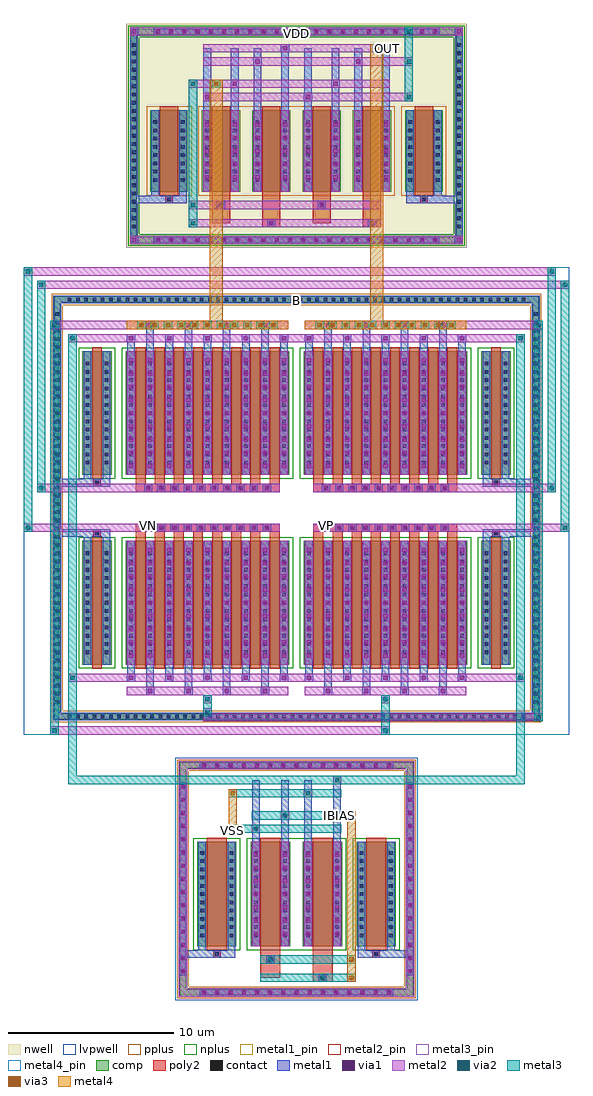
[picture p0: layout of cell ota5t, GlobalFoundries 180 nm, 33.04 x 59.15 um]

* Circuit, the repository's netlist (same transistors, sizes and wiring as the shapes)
* NGSPICE file created from ota5t.ext - technology: gf180mcuD

.subckt ota5t B VSS IBIAS VN VP VDD OUT
X0 OUT VN a_n2070_n374# B nfet_03v3 ad=2.0972p pd=8.05u as=2.0972p ps=8.05u w=7.49u l=0.6u
X1 a_n2070_n374# VN OUT B nfet_03v3 ad=2.0972p pd=8.05u as=2.0972p ps=8.05u w=7.49u l=0.6u
X2 a_n1830_1924# VP a_n2070_n374# B nfet_03v3 ad=2.0972p pd=8.05u as=2.0972p ps=8.05u w=7.49u l=0.6u
X3 a_n1830_1924# a_n1830_1924# VDD VDD pfet_03v3 ad=2.97p pd=11.1u as=2.97p ps=11.1u w=4.95u l=1.11u
X4 OUT a_n1830_1924# VDD VDD pfet_03v3 ad=2.97p pd=11.1u as=2.97p ps=11.1u w=4.95u l=1.11u
X5 a_n2070_n374# VP a_n1830_1924# B nfet_03v3 ad=2.0972p pd=8.05u as=2.0972p ps=8.05u w=7.49u l=0.6u
X6 OUT VN a_n2070_n374# B nfet_03v3 ad=2.0972p pd=8.05u as=2.0972p ps=8.05u w=7.49u l=0.6u
X7 a_n1830_1924# VP a_n2070_n374# B nfet_03v3 ad=2.0972p pd=8.05u as=2.0972p ps=8.05u w=7.49u l=0.6u
X8 B B B B nfet_03v3 ad=4.3442p pd=16.14u as=49.416p ps=0.18432m w=7.49u l=0.6u
X9 OUT VN a_n2070_n374# B nfet_03v3 ad=2.0972p pd=8.05u as=2.0972p ps=8.05u w=7.49u l=0.6u
X10 a_n2070_n374# VN OUT B nfet_03v3 ad=2.0972p pd=8.05u as=2.0972p ps=8.05u w=7.49u l=0.6u
X11 a_n2070_n374# VP a_n1830_1924# B nfet_03v3 ad=2.0972p pd=8.05u as=2.0972p ps=8.05u w=7.49u l=0.6u
X12 IBIAS IBIAS VSS B nfet_03v3 ad=3.792p pd=13.84u as=3.792p ps=13.84u w=6.32u l=1.21u
X13 a_n1830_1924# VP a_n2070_n374# B nfet_03v3 ad=2.0972p pd=8.05u as=2.0972p ps=8.05u w=7.49u l=0.6u
X14 a_n2070_n374# VN OUT B nfet_03v3 ad=4.494p pd=16.18u as=2.0972p ps=8.05u w=7.49u l=0.6u
X15 B B B B nfet_03v3 ad=4.3442p pd=16.14u as=0 ps=0 w=7.49u l=0.6u
X16 a_n1830_1924# VP a_n2070_n374# B nfet_03v3 ad=2.0972p pd=8.05u as=2.0972p ps=8.05u w=7.49u l=0.6u
X17 a_n2070_n374# VP a_n1830_1924# B nfet_03v3 ad=2.0972p pd=8.05u as=2.0972p ps=8.05u w=7.49u l=0.6u
X18 a_n2070_n374# VP a_n1830_1924# B nfet_03v3 ad=2.0972p pd=8.05u as=2.0972p ps=8.05u w=7.49u l=0.6u
X19 a_n2070_n374# IBIAS VSS B nfet_03v3 ad=3.792p pd=13.84u as=3.792p ps=13.84u w=6.32u l=1.21u
X20 VDD VDD VDD VDD pfet_03v3 ad=2.871p pd=11.06u as=23.364p ps=88.64u w=4.95u l=1.11u
X21 OUT VN a_n2070_n374# B nfet_03v3 ad=2.0972p pd=8.05u as=2.0972p ps=8.05u w=7.49u l=0.6u
X22 OUT a_n1830_1924# VDD VDD pfet_03v3 ad=2.97p pd=11.1u as=2.97p ps=11.1u w=4.95u l=1.11u
X23 a_n1830_1924# VP a_n2070_n374# B nfet_03v3 ad=2.0972p pd=8.05u as=4.494p ps=16.18u w=7.49u l=0.6u
X24 a_n2070_n374# VP a_n1830_1924# B nfet_03v3 ad=4.494p pd=16.18u as=2.0972p ps=8.05u w=7.49u l=0.6u
X25 a_n2070_n374# VN OUT B nfet_03v3 ad=2.0972p pd=8.05u as=2.0972p ps=8.05u w=7.49u l=0.6u
X26 B B B B nfet_03v3 ad=3.6656p pd=13.8u as=0 ps=0 w=6.32u l=1.21u
X27 a_n1830_1924# VP a_n2070_n374# B nfet_03v3 ad=2.0972p pd=8.05u as=2.0972p ps=8.05u w=7.49u l=0.6u
X28 a_n2070_n374# VN OUT B nfet_03v3 ad=2.0972p pd=8.05u as=2.0972p ps=8.05u w=7.49u l=0.6u
X29 OUT VN a_n2070_n374# B nfet_03v3 ad=2.0972p pd=8.05u as=4.494p ps=16.18u w=7.49u l=0.6u
X30 OUT VN a_n2070_n374# B nfet_03v3 ad=2.0972p pd=8.05u as=4.494p ps=16.18u w=7.49u l=0.6u
X31 OUT VN a_n2070_n374# B nfet_03v3 ad=2.0972p pd=8.05u as=2.0972p ps=8.05u w=7.49u l=0.6u
X32 a_n2070_n374# VN OUT B nfet_03v3 ad=2.0972p pd=8.05u as=2.0972p ps=8.05u w=7.49u l=0.6u
X33 a_n1830_1924# VP a_n2070_n374# B nfet_03v3 ad=2.0972p pd=8.05u as=4.494p ps=16.18u w=7.49u l=0.6u
X34 a_n1830_1924# a_n1830_1924# VDD VDD pfet_03v3 ad=2.97p pd=11.1u as=2.97p ps=11.1u w=4.95u l=1.11u
X35 VDD VDD VDD VDD pfet_03v3 ad=2.871p pd=11.06u as=0 ps=0 w=4.95u l=1.11u
X36 B B B B nfet_03v3 ad=4.3442p pd=16.14u as=0 ps=0 w=7.49u l=0.6u
X37 a_n2070_n374# VP a_n1830_1924# B nfet_03v3 ad=2.0972p pd=8.05u as=2.0972p ps=8.05u w=7.49u l=0.6u
X38 a_n2070_n374# VP a_n1830_1924# B nfet_03v3 ad=4.494p pd=16.18u as=2.0972p ps=8.05u w=7.49u l=0.6u
X39 a_n2070_n374# VN OUT B nfet_03v3 ad=2.0972p pd=8.05u as=2.0972p ps=8.05u w=7.49u l=0.6u
X40 B B B B nfet_03v3 ad=4.3442p pd=16.14u as=0 ps=0 w=7.49u l=0.6u
X41 OUT VN a_n2070_n374# B nfet_03v3 ad=2.0972p pd=8.05u as=2.0972p ps=8.05u w=7.49u l=0.6u
X42 B B B B nfet_03v3 ad=3.6656p pd=13.8u as=0 ps=0 w=6.32u l=1.21u
X43 a_n1830_1924# VP a_n2070_n374# B nfet_03v3 ad=2.0972p pd=8.05u as=2.0972p ps=8.05u w=7.49u l=0.6u
X44 a_n2070_n374# VN OUT B nfet_03v3 ad=4.494p pd=16.18u as=2.0972p ps=8.05u w=7.49u l=0.6u
X45 a_n2070_n374# VP a_n1830_1924# B nfet_03v3 ad=2.0972p pd=8.05u as=2.0972p ps=8.05u w=7.49u l=0.6u
.ends

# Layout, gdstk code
import gdstk
lib = gdstk.Library(unit=1e-6, precision=5e-09)
def R(c, l, rs):  # rectangles x0, y0, x1, y1
    for r in rs: c.add(gdstk.rectangle(r[:2], r[2:], *l))
def A(c, l, x, y, w, h, nx, ny, dx, dy):  # array of equal rectangles
    R(c, l, [(x+i*dx, y+j*dy, x+i*dx+w, y+j*dy+h) for i in range(nx) for j in range(ny)])
def P(c, l, *ps):  # polygons
    for p in ps: c.add(gdstk.Polygon(p, *l))
nwell = (21, 0)
comp = (22, 0)
poly2 = (30, 0)
pplus = (31, 0)
nplus = (32, 0)
contact = (33, 0)
metal1 = (34, 0)
metal1_pin = (34, 10)
via1 = (35, 0)
metal2 = (36, 0)
metal2_pin = (36, 10)
via2 = (38, 0)
via3 = (40, 0)
metal3 = (42, 0)
metal3_pin = (42, 10)
metal4 = (46, 0)
metal4_pin = (46, 10)
lvpwell = (204, 0)

ota5t = lib.new_cell('ota5t')
R(ota5t, nwell, [(-10.315,23.4,10.315,36.95), (-10.155,23.56,10.155,36.79), (-9.21,24.505,9.21,35.85)])
A(ota5t, comp, -5.78, -21.92, 0.36, 0.36, 15, 2, 0.8, 13.76)
A(ota5t, comp, -7.065, -20.64, 0.36, 0.36, 1, 15, 0, 0.8)
A(ota5t, comp, 6.705, -20.64, 0.36, 0.36, 1, 15, 0, 0.8)
A(ota5t, comp, -13.93, -5.2, 0.36, 0.36, 56, 2, 0.5, 25.28)
A(ota5t, comp, -14.68, -4.31, 0.36, 0.36, 1, 48, 0, 0.5)
A(ota5t, comp, 14.32, -4.31, 0.36, 0.36, 1, 48, 0, 0.5)
A(ota5t, comp, -8.58, 23.68, 0.36, 0.36, 22, 2, 0.8, 12.63)
A(ota5t, comp, -10.035, 24.495, 0.36, 0.36, 1, 23, 0, 0.5)
A(ota5t, comp, 9.675, 24.495, 0.36, 0.36, 1, 23, 0, 0.5)
A(ota5t, comp, -5.73, 26.78, 2.31, 4.95, 4, 1, 3.05, 0)
R(ota5t, comp, [(-5.78,-21.92,5.78,-21.56), (-7.065,-20.64,-6.705,-9.08), (6.705,-20.64,7.065,-9.08), (-6.015,-18.94,-3.645,-12.62), (-2.785,-18.94,-0.375,-12.62), (0.375,-18.94,2.785,-12.62), (3.645,-18.94,6.015,-12.62), (-5.78,-8.16,5.78,-7.8), (-13.93,-5.2,13.93,-4.84), (-14.68,-4.31,-14.32,19.55), (14.32,-4.31,14.68,19.55), (-12.97,-1.87,-11.21,5.62), (-10.35,-1.87,-0.43,5.62), (0.43,-1.87,10.35,5.62), (11.21,-1.87,12.97,5.62), (-12.97,9.62,-11.21,17.11), (-10.35,9.62,-0.43,17.11), (0.43,9.62,10.35,17.11), (11.21,9.62,12.97,17.11), (-13.93,20.08,13.93,20.44), (-8.58,23.68,8.58,24.04), (-10.035,24.495,-9.675,35.855), (9.675,24.495,10.035,35.855), (-8.86,26.78,-6.59,31.73), (6.59,26.78,8.86,31.73), (-8.58,36.31,8.58,36.67)])
P(ota5t, comp, [(14.68,20.44),(-14.68,20.44),(-14.68,-4.84),(-14.32,-4.84),(-14.32,20.08),(14.32,20.08),(14.32,-4.84),(-14.32,-4.84),(-14.68,-4.84),(-14.68,-5.2),(14.68,-5.2)],
  [(7.065,-7.8),(-7.065,-7.8),(-7.065,-21.56),(-6.705,-21.56),(-6.705,-8.16),(6.705,-8.16),(6.705,-21.56),(-6.705,-21.56),(-7.065,-21.56),(-7.065,-21.92),(7.065,-21.92)],
  [(10.035,36.67),(-10.035,36.67),(-10.035,24.04),(-9.675,24.04),(-9.675,36.31),(9.675,36.31),(9.675,24.04),(-9.675,24.04),(-10.035,24.04),(-10.035,23.68),(10.035,23.68)])
A(ota5t, poly2, -9.75, -2.115, 0.6, 7.98, 8, 2, 1.16, 11.49)
A(ota5t, poly2, 1.03, -2.115, 0.6, 7.98, 8, 2, 1.16, 11.49)
A(ota5t, poly2, -9.75, 5.865, 0.6, 0.3, 8, 2, 1.16, 3.21)
A(ota5t, poly2, 1.03, 5.865, 0.6, 0.3, 8, 2, 1.16, 3.21)
A(ota5t, poly2, -9.17, 6.235, 0.36, 0.36, 10, 2, 0.8, 2.41)
A(ota5t, poly2, 1.61, 6.235, 0.36, 0.36, 10, 2, 0.8, 2.41)
A(ota5t, poly2, -5.13, 26.54, 1.11, 5.43, 4, 1, 3.05, 0)
R(ota5t, poly2, [(0.975,-21.1,2.185,-20.6), (1.4,-21.03,1.76,-20.67), (-2.185,-20.85,-0.975,-19.185), (0.975,-20.6,2.185,-19.185), (-2.185,-19.99,-0.975,-19.49), (-1.76,-19.92,-1.4,-19.56), (-5.06,-19.645,-4.6,-19.185), (4.6,-19.645,5.06,-19.185), (-5.01,-19.595,-4.65,-19.235), (4.65,-19.595,5.01,-19.235), (-2.185,-19.49,-0.975,-19.185), (-5.435,-19.185,-4.225,-12.375), (-2.185,-19.185,-0.975,-12.375), (0.975,-19.185,2.185,-12.375), (4.225,-19.185,5.435,-12.375), (-12.39,-2.115,-11.79,5.865), (11.79,-2.115,12.39,5.865), (-12.32,5.865,-11.86,6.325), (11.86,5.865,12.32,6.325), (-12.27,5.915,-11.91,6.275), (11.91,5.915,12.27,6.275), (-9.75,6.165,-1.03,6.665), (1.03,6.165,9.75,6.665), (-9.75,8.575,-1.03,9.075), (1.03,8.575,9.75,9.075), (-12.32,8.915,-11.86,9.375), (11.86,8.915,12.32,9.375), (-12.27,8.965,-11.91,9.325), (11.91,8.965,12.27,9.325), (-12.39,9.375,-11.79,17.355), (11.79,9.375,12.39,17.355), (-2.08,24.625,-0.97,25.125), (4.02,24.625,5.13,25.125), (-1.705,24.695,-1.345,25.055), (4.395,24.695,4.755,25.055), (-5.13,24.875,-4.02,26.54), (0.97,24.875,2.08,26.54), (-2.08,25.125,-0.97,26.54), (4.02,25.125,5.13,26.54), (-5.13,25.735,-4.02,26.235), (0.97,25.735,2.08,26.235), (-4.755,25.805,-4.395,26.165), (1.345,25.805,1.705,26.165), (-7.955,26.08,-7.495,26.54), (7.495,26.08,7.955,26.54), (-7.905,26.13,-7.545,26.49), (7.545,26.13,7.905,26.49), (-5.13,26.235,-4.02,26.54), (0.97,26.235,2.08,26.54), (-8.28,26.54,-7.17,31.97), (7.17,26.54,8.28,31.97)])
A(ota5t, pplus, -5.96, 26.55, 2.77, 5.41, 4, 1, 3.05, 0)
R(ota5t, pplus, [(-9.09,26.55,-6.36,31.96), (-5.96,26.55,5.96,31.96), (6.36,26.55,9.09,31.96)])
P(ota5t, pplus, [(14.84,20.6),(-14.84,20.6),(-14.84,-4.68),(-14.16,-4.68),(-14.16,19.92),(14.16,19.92),(14.16,-4.68),(-14.16,-4.68),(-14.84,-4.68),(-14.84,-5.36),(14.84,-5.36)],
  [(7.225,-7.64),(-7.225,-7.64),(-7.225,-21.4),(-6.545,-21.4),(-6.545,-8.32),(6.545,-8.32),(6.545,-21.4),(-6.545,-21.4),(-7.225,-21.4),(-7.225,-22.08),(7.225,-22.08)])
R(ota5t, nplus, [(-6.245,-19.17,-3.415,-12.39), (-3.015,-19.17,-0.145,-12.39), (-3.015,-19.17,3.015,-12.39), (0.145,-19.17,3.015,-12.39), (3.415,-19.17,6.245,-12.39), (-13.2,-2.1,-10.98,5.85), (-10.58,-2.1,-0.2,5.85), (0.2,-2.1,10.58,5.85), (10.98,-2.1,13.2,5.85), (-13.2,9.39,-10.98,17.34), (-10.58,9.39,-0.2,17.34), (0.2,9.39,10.58,17.34), (10.98,9.39,13.2,17.34)])
P(ota5t, nplus, [(10.195,36.83),(-10.195,36.83),(-10.195,24.2),(-9.515,24.2),(-9.515,36.15),(9.515,36.15),(9.515,24.2),(-9.515,24.2),(-10.195,24.2),(-10.195,23.52),(10.195,23.52)])
A(ota5t, contact, -5.71, -21.85, 0.22, 0.22, 15, 2, 0.8, 13.76)
A(ota5t, contact, -6.995, -20.57, 0.22, 0.22, 1, 15, 0, 0.8)
A(ota5t, contact, 6.775, -20.57, 0.22, 0.22, 1, 15, 0, 0.8)
A(ota5t, contact, -5.825, -18.39, 0.22, 0.22, 1, 11, 0, 0.5)
A(ota5t, contact, -4.055, -18.39, 0.22, 0.22, 1, 11, 0, 0.5)
A(ota5t, contact, -2.575, -18.39, 0.22, 0.22, 1, 11, 0, 0.5)
A(ota5t, contact, -0.805, -18.39, 0.22, 0.22, 1, 11, 0, 0.5)
A(ota5t, contact, 0.585, -18.39, 0.22, 0.22, 1, 11, 0, 0.5)
A(ota5t, contact, 2.355, -18.39, 0.22, 0.22, 1, 11, 0, 0.5)
A(ota5t, contact, 3.835, -18.39, 0.22, 0.22, 1, 11, 0, 0.5)
A(ota5t, contact, 5.605, -18.39, 0.22, 0.22, 1, 11, 0, 0.5)
A(ota5t, contact, -13.86, -5.13, 0.22, 0.22, 56, 2, 0.5, 25.28)
A(ota5t, contact, -14.61, -4.24, 0.22, 0.22, 1, 48, 0, 0.5)
A(ota5t, contact, 14.39, -4.24, 0.22, 0.22, 1, 48, 0, 0.5)
A(ota5t, contact, -12.78, -1.235, 0.22, 0.22, 1, 13, 0, 0.5)
A(ota5t, contact, -11.62, -1.235, 0.22, 0.22, 1, 13, 0, 0.5)
A(ota5t, contact, -10.14, -1.235, 0.22, 0.22, 9, 13, 1.16, 0.5)
A(ota5t, contact, 0.64, -1.235, 0.22, 0.22, 9, 13, 1.16, 0.5)
A(ota5t, contact, 11.4, -1.235, 0.22, 0.22, 1, 13, 0, 0.5)
A(ota5t, contact, 12.56, -1.235, 0.22, 0.22, 1, 13, 0, 0.5)
A(ota5t, contact, -9.1, 6.305, 0.22, 0.22, 10, 2, 0.8, 2.41)
A(ota5t, contact, 1.68, 6.305, 0.22, 0.22, 10, 2, 0.8, 2.41)
A(ota5t, contact, -12.78, 10.255, 0.22, 0.22, 1, 13, 0, 0.5)
A(ota5t, contact, -11.62, 10.255, 0.22, 0.22, 1, 13, 0, 0.5)
A(ota5t, contact, -10.14, 10.255, 0.22, 0.22, 9, 13, 1.16, 0.5)
A(ota5t, contact, 0.64, 10.255, 0.22, 0.22, 9, 13, 1.16, 0.5)
A(ota5t, contact, 11.4, 10.255, 0.22, 0.22, 1, 13, 0, 0.5)
A(ota5t, contact, 12.56, 10.255, 0.22, 0.22, 1, 13, 0, 0.5)
A(ota5t, contact, -8.51, 23.75, 0.22, 0.22, 22, 2, 0.8, 12.63)
A(ota5t, contact, -9.965, 24.565, 0.22, 0.22, 1, 23, 0, 0.5)
A(ota5t, contact, 9.745, 24.565, 0.22, 0.22, 1, 23, 0, 0.5)
A(ota5t, contact, -8.67, 27.395, 0.22, 0.22, 1, 8, 0, 0.5)
A(ota5t, contact, -7, 27.395, 0.22, 0.22, 1, 8, 0, 0.5)
A(ota5t, contact, -5.52, 27.395, 0.22, 0.22, 1, 8, 0, 0.5)
A(ota5t, contact, -3.85, 27.395, 0.22, 0.22, 1, 8, 0, 0.5)
A(ota5t, contact, -2.47, 27.395, 0.22, 0.22, 1, 8, 0, 0.5)
A(ota5t, contact, -0.8, 27.395, 0.22, 0.22, 1, 8, 0, 0.5)
A(ota5t, contact, 0.58, 27.395, 0.22, 0.22, 1, 8, 0, 0.5)
A(ota5t, contact, 2.25, 27.395, 0.22, 0.22, 1, 8, 0, 0.5)
A(ota5t, contact, 3.63, 27.395, 0.22, 0.22, 1, 8, 0, 0.5)
A(ota5t, contact, 5.3, 27.395, 0.22, 0.22, 1, 8, 0, 0.5)
A(ota5t, contact, 6.78, 27.395, 0.22, 0.22, 1, 8, 0, 0.5)
A(ota5t, contact, 8.45, 27.395, 0.22, 0.22, 1, 8, 0, 0.5)
R(ota5t, contact, [(1.47,-20.96,1.69,-20.74), (-1.69,-19.85,-1.47,-19.63), (-4.94,-19.525,-4.72,-19.305), (4.72,-19.525,4.94,-19.305), (-12.2,5.985,-11.98,6.205), (11.98,5.985,12.2,6.205), (-12.2,9.035,-11.98,9.255), (11.98,9.035,12.2,9.255), (-1.635,24.765,-1.415,24.985), (4.465,24.765,4.685,24.985), (-4.685,25.875,-4.465,26.095), (1.415,25.875,1.635,26.095), (-7.835,26.2,-7.615,26.42), (7.615,26.2,7.835,26.42)])
A(ota5t, metal1, -5.85, -21.99, 0.5, 0.5, 15, 2, 0.8, 13.76)
A(ota5t, metal1, -7.135, -20.71, 0.5, 0.5, 1, 15, 0, 0.8)
A(ota5t, metal1, 6.635, -20.71, 0.5, 0.5, 1, 15, 0, 0.8)
A(ota5t, metal1, -5.945, -18.51, 0.46, 0.46, 1, 11, 0, 0.5)
A(ota5t, metal1, -4.175, -18.51, 0.46, 0.46, 1, 11, 0, 0.5)
A(ota5t, metal1, -2.695, -18.51, 0.46, 0.46, 1, 11, 0, 0.5)
A(ota5t, metal1, -0.925, -18.51, 0.46, 0.46, 1, 11, 0, 0.5)
A(ota5t, metal1, 0.465, -18.51, 0.46, 0.46, 1, 11, 0, 0.5)
A(ota5t, metal1, 2.235, -18.51, 0.46, 0.46, 1, 11, 0, 0.5)
A(ota5t, metal1, 3.715, -18.51, 0.46, 0.46, 1, 11, 0, 0.5)
A(ota5t, metal1, 5.485, -18.51, 0.46, 0.46, 1, 11, 0, 0.5)
A(ota5t, metal1, -2.715, -18.43, 0.5, 0.5, 1, 7, 0, 0.8)
A(ota5t, metal1, -0.945, -18.43, 0.5, 0.5, 1, 7, 0, 0.8)
A(ota5t, metal1, 0.445, -18.43, 0.5, 0.5, 1, 7, 0, 0.8)
A(ota5t, metal1, 2.215, -18.43, 0.5, 0.5, 1, 7, 0, 0.8)
A(ota5t, metal1, -13.98, -5.25, 0.46, 0.46, 56, 2, 0.5, 25.28)
A(ota5t, metal1, -14.73, -4.36, 0.46, 0.46, 1, 48, 0, 0.5)
A(ota5t, metal1, 14.27, -4.36, 0.46, 0.46, 1, 48, 0, 0.5)
A(ota5t, metal1, -9.12, -3.72, 0.5, 0.5, 4, 2, 2.32, 22.18)
A(ota5t, metal1, -9.1, -3.72, 0.46, 1.85, 4, 2, 2.32, 20.83)
A(ota5t, metal1, 1.66, -3.72, 0.5, 0.5, 4, 2, 2.32, 22.18)
A(ota5t, metal1, 1.68, -3.72, 0.46, 1.85, 4, 2, 2.32, 20.83)
A(ota5t, metal1, -10.28, -2.92, 0.5, 0.5, 5, 2, 2.32, 20.58)
A(ota5t, metal1, -10.26, -2.92, 0.46, 1.05, 5, 2, 2.32, 20.03)
A(ota5t, metal1, 0.5, -2.92, 0.5, 0.5, 5, 2, 2.32, 20.58)
A(ota5t, metal1, 0.52, -2.92, 0.46, 1.05, 5, 2, 2.32, 20.03)
A(ota5t, metal1, -10.26, -1.87, 0.46, 7.49, 9, 2, 1.16, 11.49)
A(ota5t, metal1, 0.52, -1.87, 0.46, 7.49, 9, 2, 1.16, 11.49)
A(ota5t, metal1, -10.28, -1.575, 0.5, 0.5, 9, 9, 1.16, 0.8)
A(ota5t, metal1, -10.28, -1.575, 0.5, 6.9, 9, 2, 1.16, 11.49)
A(ota5t, metal1, 0.5, -1.575, 0.5, 0.5, 9, 9, 1.16, 0.8)
A(ota5t, metal1, 0.5, -1.575, 0.5, 6.9, 9, 2, 1.16, 11.49)
A(ota5t, metal1, -12.9, -1.355, 0.46, 0.46, 1, 13, 0, 0.5)
A(ota5t, metal1, -11.74, -1.355, 0.46, 0.46, 1, 13, 0, 0.5)
A(ota5t, metal1, -10.26, -1.355, 0.46, 0.46, 9, 13, 1.16, 0.5)
A(ota5t, metal1, 0.52, -1.355, 0.46, 0.46, 9, 13, 1.16, 0.5)
A(ota5t, metal1, 11.28, -1.355, 0.46, 0.46, 1, 13, 0, 0.5)
A(ota5t, metal1, 12.44, -1.355, 0.46, 0.46, 1, 13, 0, 0.5)
A(ota5t, metal1, -9.24, 6.165, 0.5, 0.5, 10, 2, 0.8, 2.41)
A(ota5t, metal1, 1.54, 6.165, 0.5, 0.5, 10, 2, 0.8, 2.41)
A(ota5t, metal1, -10.28, 9.915, 0.5, 0.5, 9, 9, 1.16, 0.8)
A(ota5t, metal1, 0.5, 9.915, 0.5, 0.5, 9, 9, 1.16, 0.8)
A(ota5t, metal1, -12.9, 10.135, 0.46, 0.46, 1, 13, 0, 0.5)
A(ota5t, metal1, -11.74, 10.135, 0.46, 0.46, 1, 13, 0, 0.5)
A(ota5t, metal1, -10.26, 10.135, 0.46, 0.46, 9, 13, 1.16, 0.5)
A(ota5t, metal1, 0.52, 10.135, 0.46, 0.46, 9, 13, 1.16, 0.5)
A(ota5t, metal1, 11.28, 10.135, 0.46, 0.46, 1, 13, 0, 0.5)
A(ota5t, metal1, 12.44, 10.135, 0.46, 0.46, 1, 13, 0, 0.5)
A(ota5t, metal1, -8.65, 23.61, 0.5, 0.5, 22, 2, 0.8, 12.63)
A(ota5t, metal1, -10.085, 24.445, 0.46, 0.46, 1, 23, 0, 0.5)
A(ota5t, metal1, 9.625, 24.445, 0.46, 0.46, 1, 23, 0, 0.5)
A(ota5t, metal1, -8.79, 27.275, 0.46, 0.46, 1, 8, 0, 0.5)
A(ota5t, metal1, -7.12, 27.275, 0.46, 0.46, 1, 8, 0, 0.5)
A(ota5t, metal1, -5.64, 27.275, 0.46, 0.46, 1, 8, 0, 0.5)
A(ota5t, metal1, -3.97, 27.275, 0.46, 0.46, 1, 8, 0, 0.5)
A(ota5t, metal1, -2.59, 27.275, 0.46, 0.46, 1, 8, 0, 0.5)
A(ota5t, metal1, -0.92, 27.275, 0.46, 0.46, 1, 8, 0, 0.5)
A(ota5t, metal1, 0.46, 27.275, 0.46, 0.46, 1, 8, 0, 0.5)
A(ota5t, metal1, 2.13, 27.275, 0.46, 0.46, 1, 8, 0, 0.5)
A(ota5t, metal1, 3.51, 27.275, 0.46, 0.46, 1, 8, 0, 0.5)
A(ota5t, metal1, 5.18, 27.275, 0.46, 0.46, 1, 8, 0, 0.5)
A(ota5t, metal1, 6.66, 27.275, 0.46, 0.46, 1, 8, 0, 0.5)
A(ota5t, metal1, 8.33, 27.275, 0.46, 0.46, 1, 8, 0, 0.5)
A(ota5t, metal1, -5.66, 27.405, 0.5, 0.5, 1, 5, 0, 0.8)
A(ota5t, metal1, -3.99, 27.405, 0.5, 0.5, 1, 5, 0, 0.8)
A(ota5t, metal1, -2.61, 27.405, 0.5, 0.5, 1, 5, 0, 0.8)
A(ota5t, metal1, -0.94, 27.405, 0.5, 0.5, 1, 5, 0, 0.8)
A(ota5t, metal1, 0.44, 27.405, 0.5, 0.5, 1, 5, 0, 0.8)
A(ota5t, metal1, 2.11, 27.405, 0.5, 0.5, 1, 5, 0, 0.8)
A(ota5t, metal1, 3.49, 27.405, 0.5, 0.5, 1, 5, 0, 0.8)
A(ota5t, metal1, 5.16, 27.405, 0.5, 0.5, 1, 5, 0, 0.8)
R(ota5t, metal1, [(-5.85,-21.99,5.85,-21.49), (1.33,-21.1,1.83,-20.6), (-7.135,-20.71,-6.635,-9.01), (6.635,-20.71,7.135,-9.01), (-1.83,-19.99,-1.33,-19.49), (-7.135,-19.645,-5.06,-19.185), (-5.945,-19.645,-5.485,-18.94), (-5.945,-19.645,-5.06,-19.185), (-5.06,-19.645,-4.6,-19.185), (-4.6,-19.645,-3.715,-19.185), (-4.175,-19.645,-3.715,-18.94), (3.715,-19.645,4.175,-18.94), (3.715,-19.645,4.6,-19.185), (4.6,-19.645,5.06,-19.185), (5.06,-19.645,5.945,-19.185), (5.06,-19.645,7.135,-19.185), (5.485,-19.645,5.945,-18.94), (-5.945,-18.94,-5.485,-12.62), (-4.175,-18.94,-3.715,-12.62), (-2.695,-18.94,-2.235,-12.62), (-0.925,-18.94,-0.465,-12.62), (0.465,-18.94,0.925,-12.62), (2.235,-18.94,2.695,-12.62), (3.715,-18.94,4.175,-12.62), (5.485,-18.94,5.945,-12.62), (-2.715,-18.43,-2.215,-13.13), (-0.945,-18.43,-0.445,-13.13), (0.445,-18.43,0.945,-13.13), (2.215,-18.43,2.715,-13.13), (-2.695,-12.62,-2.235,-11.57), (-2.695,-12.62,-2.235,-8.87), (-0.925,-12.62,-0.465,-10.77), (-0.925,-12.62,-0.465,-8.87), (0.465,-12.62,0.925,-9.42), (0.465,-12.62,0.925,-8.87), (2.235,-12.62,2.695,-8.62), (2.235,-12.62,2.695,-8.87), (-2.715,-12.07,-2.215,-11.57), (-0.945,-11.27,-0.445,-10.77), (0.445,-9.92,0.945,-9.42), (2.215,-9.12,2.715,-8.62), (-5.85,-8.23,5.85,-7.73), (-14.73,-5.25,-14.32,-4.79), (-14.73,-5.25,-14.27,-4.84), (-14.32,-5.25,14.32,-4.79), (14.27,-5.25,14.73,-4.84), (14.32,-5.25,14.73,-4.79), (-14.73,-4.84,-14.27,20.08), (14.27,-4.84,14.73,20.08), (-12.9,-1.87,-12.44,5.62), (-11.74,-1.87,-11.28,5.62), (11.28,-1.87,11.74,5.62), (12.44,-1.87,12.9,5.62), (-12.9,5.62,-12.44,6.325), (-11.74,5.62,-11.28,6.325), (11.28,5.62,11.74,6.325), (12.44,5.62,12.9,6.325), (-14.73,5.865,-12.32,6.325), (-12.9,5.865,-12.32,6.325), (-12.32,5.865,-11.86,6.325), (-11.86,5.865,-11.28,6.325), (11.28,5.865,11.86,6.325), (11.86,5.865,12.32,6.325), (11.86,5.865,14.73,6.325), (12.32,5.865,12.9,6.325), (-14.73,8.915,-12.32,9.375), (-12.9,8.915,-12.32,9.375), (-12.9,8.915,-12.44,9.62), (-12.32,8.915,-11.86,9.375), (-11.86,8.915,-11.28,9.375), (-11.74,8.915,-11.28,9.62), (11.28,8.915,11.86,9.375), (11.28,8.915,11.74,9.62), (11.86,8.915,12.32,9.375), (11.86,8.915,14.73,9.375), (12.32,8.915,12.9,9.375), (12.44,8.915,12.9,9.62), (-12.9,9.62,-12.44,17.11), (-11.74,9.62,-11.28,17.11), (11.28,9.62,11.74,17.11), (12.44,9.62,12.9,17.11), (-14.73,20.03,-14.32,20.49), (-14.32,20.03,14.32,20.49), (14.32,20.03,14.73,20.49), (-14.73,20.08,-14.27,20.49), (14.27,20.08,14.73,20.49), (-10.085,23.61,-9.585,24.11), (-10.085,23.61,-9.585,24.11), (-10.085,23.61,-9.625,24.04), (-8.65,23.61,8.65,24.11), (9.585,23.61,10.085,24.11), (9.585,23.61,10.085,24.11), (9.625,23.61,10.085,24.04), (-10.085,24.04,-9.625,36.31), (9.625,24.04,10.085,36.31), (-1.775,24.625,-1.275,25.125), (4.325,24.625,4.825,25.125), (-4.825,25.735,-4.325,26.235), (1.275,25.735,1.775,26.235), (-10.085,26.08,-7.955,26.54), (-8.79,26.08,-7.955,26.54), (-8.79,26.08,-8.33,26.78), (-7.955,26.08,-7.495,26.54), (-7.495,26.08,-6.66,26.54), (-7.12,26.08,-6.66,26.78), (6.66,26.08,7.495,26.54), (6.66,26.08,7.12,26.78), (7.495,26.08,7.955,26.54), (7.955,26.08,8.79,26.54), (7.955,26.08,10.085,26.54), (8.33,26.08,8.79,26.78), (-8.79,26.78,-8.33,31.73), (-7.12,26.78,-6.66,31.73), (-5.64,26.78,-5.18,31.73), (-3.97,26.78,-3.51,31.73), (-2.59,26.78,-2.13,31.73), (-0.92,26.78,-0.46,31.73), (0.46,26.78,0.92,31.73), (2.13,26.78,2.59,31.73), (3.51,26.78,3.97,31.73), (5.18,26.78,5.64,31.73), (6.66,26.78,7.12,31.73), (8.33,26.78,8.79,31.73), (-5.66,27.405,-5.16,31.105), (-3.99,27.405,-3.49,31.105), (-2.61,27.405,-2.11,31.105), (-0.94,27.405,-0.44,31.105), (0.44,27.405,0.94,31.105), (2.11,27.405,2.61,31.105), (3.49,27.405,3.99,31.105), (5.16,27.405,5.66,31.105), (-5.64,31.73,-5.18,32.78), (-5.64,31.73,-5.18,35.48), (-3.97,31.73,-3.51,33.58), (-3.97,31.73,-3.51,35.48), (-2.59,31.73,-2.13,34.93), (-2.59,31.73,-2.13,35.48), (-0.92,31.73,-0.46,35.73), (-0.92,31.73,-0.46,35.48), (0.46,31.73,0.92,32.78), (0.46,31.73,0.92,35.48), (2.13,31.73,2.59,33.58), (2.13,31.73,2.59,35.48), (3.51,31.73,3.97,34.93), (3.51,31.73,3.97,35.48), (5.18,31.73,5.64,35.73), (5.18,31.73,5.64,35.48), (-5.66,32.28,-5.16,32.78), (0.44,32.28,0.94,32.78), (-3.99,33.08,-3.49,33.58), (2.11,33.08,2.61,33.58), (-2.61,34.43,-2.11,34.93), (3.49,34.43,3.99,34.93), (-0.94,35.23,-0.44,35.73), (5.16,35.23,5.66,35.73), (-10.085,36.24,-9.585,36.74), (-10.085,36.24,-9.585,36.74), (-8.65,36.24,8.65,36.74), (9.585,36.24,10.085,36.74), (9.585,36.24,10.085,36.74), (-10.085,36.31,-9.625,36.74), (9.625,36.31,10.085,36.74)])
R(ota5t, metal1_pin, [(-0.135,20.03,0.135,20.3), (-0.135,20.03,0.135,20.3)])
A(ota5t, via1, -5.73, -21.87, 0.26, 0.26, 15, 2, 0.8, 13.76)
A(ota5t, via1, -7.015, -20.59, 0.26, 0.26, 1, 15, 0, 0.8)
A(ota5t, via1, 6.755, -20.59, 0.26, 0.26, 1, 15, 0, 0.8)
A(ota5t, via1, -2.595, -18.31, 0.26, 0.26, 1, 7, 0, 0.8)
A(ota5t, via1, -0.825, -18.31, 0.26, 0.26, 1, 7, 0, 0.8)
A(ota5t, via1, 0.565, -18.31, 0.26, 0.26, 1, 7, 0, 0.8)
A(ota5t, via1, 2.335, -18.31, 0.26, 0.26, 1, 7, 0, 0.8)
A(ota5t, via1, -9, -3.6, 0.26, 0.26, 4, 2, 2.32, 22.18)
A(ota5t, via1, 1.78, -3.6, 0.26, 0.26, 4, 2, 2.32, 22.18)
A(ota5t, via1, -10.16, -2.8, 0.26, 0.26, 5, 2, 2.32, 20.58)
A(ota5t, via1, 0.62, -2.8, 0.26, 0.26, 5, 2, 2.32, 20.58)
A(ota5t, via1, -10.16, -1.455, 0.26, 0.26, 9, 9, 1.16, 0.8)
A(ota5t, via1, 0.62, -1.455, 0.26, 0.26, 9, 9, 1.16, 0.8)
A(ota5t, via1, -9.12, 6.285, 0.26, 0.26, 10, 2, 0.8, 2.41)
A(ota5t, via1, 1.66, 6.285, 0.26, 0.26, 10, 2, 0.8, 2.41)
A(ota5t, via1, -10.16, 10.035, 0.26, 0.26, 9, 9, 1.16, 0.8)
A(ota5t, via1, 0.62, 10.035, 0.26, 0.26, 9, 9, 1.16, 0.8)
A(ota5t, via1, -8.53, 23.73, 0.26, 0.26, 22, 2, 0.8, 12.63)
A(ota5t, via1, -5.54, 27.525, 0.26, 0.26, 1, 5, 0, 0.8)
A(ota5t, via1, -3.87, 27.525, 0.26, 0.26, 1, 5, 0, 0.8)
A(ota5t, via1, -2.49, 27.525, 0.26, 0.26, 1, 5, 0, 0.8)
A(ota5t, via1, -0.82, 27.525, 0.26, 0.26, 1, 5, 0, 0.8)
A(ota5t, via1, 0.56, 27.525, 0.26, 0.26, 1, 5, 0, 0.8)
A(ota5t, via1, 2.23, 27.525, 0.26, 0.26, 1, 5, 0, 0.8)
A(ota5t, via1, 3.61, 27.525, 0.26, 0.26, 1, 5, 0, 0.8)
A(ota5t, via1, 5.28, 27.525, 0.26, 0.26, 1, 5, 0, 0.8)
R(ota5t, via1, [(1.45,-20.98,1.71,-20.72), (-1.71,-19.87,-1.45,-19.61), (-2.595,-11.95,-2.335,-11.69), (-0.825,-11.15,-0.565,-10.89), (0.565,-9.8,0.825,-9.54), (2.335,-9,2.595,-8.74), (-9.965,23.73,-9.705,23.99), (9.705,23.73,9.965,23.99), (-1.655,24.745,-1.395,25.005), (4.445,24.745,4.705,25.005), (-4.705,25.855,-4.445,26.115), (1.395,25.855,1.655,26.115), (-5.54,32.4,-5.28,32.66), (0.56,32.4,0.82,32.66), (-3.87,33.2,-3.61,33.46), (2.23,33.2,2.49,33.46), (-2.49,34.55,-2.23,34.81), (3.61,34.55,3.87,34.81), (-0.82,35.35,-0.56,35.61), (5.28,35.35,5.54,35.61), (-9.965,36.36,-9.705,36.62), (9.705,36.36,9.965,36.62)])
A(ota5t, metal2, -5.85, -21.99, 0.5, 0.5, 15, 2, 0.8, 13.76)
A(ota5t, metal2, -7.135, -20.71, 0.5, 0.5, 1, 15, 0, 0.8)
A(ota5t, metal2, 6.635, -20.71, 0.5, 0.5, 1, 15, 0, 0.8)
A(ota5t, metal2, -2.715, -18.43, 0.5, 0.5, 1, 7, 0, 0.8)
A(ota5t, metal2, -0.945, -18.43, 0.5, 0.5, 1, 7, 0, 0.8)
A(ota5t, metal2, 0.445, -18.43, 0.5, 0.5, 1, 7, 0, 0.8)
A(ota5t, metal2, 2.215, -18.43, 0.5, 0.5, 1, 7, 0, 0.8)
A(ota5t, metal2, -9.12, -3.72, 0.5, 0.5, 4, 2, 2.32, 22.18)
A(ota5t, metal2, 1.66, -3.72, 0.5, 0.5, 4, 2, 2.32, 22.18)
A(ota5t, metal2, -10.28, -2.92, 0.5, 0.5, 5, 2, 2.32, 20.58)
A(ota5t, metal2, 0.5, -2.92, 0.5, 0.5, 5, 2, 2.32, 20.58)
A(ota5t, metal2, -10.28, -1.87, 0.5, 7.49, 9, 2, 1.16, 11.49)
A(ota5t, metal2, 0.5, -1.87, 0.5, 7.49, 9, 2, 1.16, 11.49)
A(ota5t, metal2, -10.28, -1.575, 0.5, 0.5, 9, 9, 1.16, 0.8)
A(ota5t, metal2, 0.5, -1.575, 0.5, 0.5, 9, 9, 1.16, 0.8)
A(ota5t, metal2, -9.24, 6.165, 0.5, 0.5, 10, 2, 0.8, 2.41)
A(ota5t, metal2, 1.54, 6.165, 0.5, 0.5, 10, 2, 0.8, 2.41)
A(ota5t, metal2, -10.28, 9.915, 0.5, 0.5, 9, 9, 1.16, 0.8)
A(ota5t, metal2, 0.5, 9.915, 0.5, 0.5, 9, 9, 1.16, 0.8)
A(ota5t, metal2, -8.65, 23.61, 0.5, 0.5, 22, 1, 0.8, 0)
A(ota5t, metal2, -5.66, 27.405, 0.5, 0.5, 1, 5, 0, 0.8)
A(ota5t, metal2, -3.99, 27.405, 0.5, 0.5, 1, 5, 0, 0.8)
A(ota5t, metal2, -2.61, 27.405, 0.5, 0.5, 1, 5, 0, 0.8)
A(ota5t, metal2, -0.94, 27.405, 0.5, 0.5, 1, 5, 0, 0.8)
A(ota5t, metal2, 0.44, 27.405, 0.5, 0.5, 1, 5, 0, 0.8)
A(ota5t, metal2, 2.11, 27.405, 0.5, 0.5, 1, 5, 0, 0.8)
A(ota5t, metal2, 3.49, 27.405, 0.5, 0.5, 1, 5, 0, 0.8)
A(ota5t, metal2, 5.16, 27.405, 0.5, 0.5, 1, 5, 0, 0.8)
A(ota5t, metal2, -8.65, 36.24, 0.5, 0.5, 20, 1, 0.8, 0)
R(ota5t, metal2, [(-7.135,-21.99,-6.705,-21.49), (-7.135,-21.99,-6.635,-21.56), (-6.705,-21.99,6.705,-21.49), (6.635,-21.99,7.135,-21.56), (6.705,-21.99,7.135,-21.49), (-7.135,-21.56,-6.635,-8.16), (6.635,-21.56,7.135,-8.16), (1.33,-21.1,1.83,-20.6), (-1.83,-19.99,-1.33,-19.49), (-2.715,-18.94,-2.215,-12.62), (-0.945,-18.94,-0.445,-12.62), (0.445,-18.94,0.945,-12.62), (2.215,-18.94,2.715,-12.62), (-2.715,-12.07,-2.215,-11.57), (-0.945,-11.27,-0.445,-10.77), (0.445,-9.92,0.945,-9.42), (2.215,-9.12,2.715,-8.62), (-7.135,-8.23,-6.705,-7.73), (-6.705,-8.23,6.705,-7.73), (6.705,-8.23,7.135,-7.73), (-7.135,-8.16,-6.635,-7.73), (6.635,-8.16,7.135,-7.73), (-14.92,-6.12,-14.42,-5.62), (-14.92,-6.12,5.64,-5.62), (5.14,-6.12,5.64,-5.62), (-5.64,-5.32,14.92,-4.82), (14.42,-5.32,14.92,-4.82), (-5.64,-5.02,-5.14,-4.52), (-5.64,-4.22,-5.14,-3.72), (5.14,-4.22,5.64,-3.72), (-10.28,-3.72,-0.5,-3.22), (0.5,-3.72,10.28,-3.22), (-13.82,-2.92,-13.32,-2.42), (-13.82,-2.92,-10.28,-2.42), (-10.28,-2.92,-0.5,-2.42), (-0.5,-2.92,0.5,-2.42), (0.5,-2.92,10.28,-2.42), (10.28,-2.92,13.82,-2.42), (13.32,-2.92,13.82,-2.42), (-16.52,6.165,-16.02,6.665), (-16.52,6.165,-1.03,6.665), (-9.75,6.165,-1.03,6.665), (1.03,6.165,9.75,6.665), (1.03,6.165,16.52,6.665), (16.02,6.165,16.52,6.665), (-15.72,8.575,-15.22,9.075), (-15.72,8.575,-9.75,9.075), (-9.75,8.575,-1.03,9.075), (1.03,8.575,9.75,9.075), (9.75,8.575,15.72,9.075), (15.22,8.575,15.72,9.075), (-13.82,17.66,-13.32,18.16), (-13.82,17.66,-10.28,18.16), (-10.28,17.66,-0.5,18.16), (-0.5,17.66,0.5,18.16), (0.5,17.66,10.28,18.16), (10.28,17.66,13.82,18.16), (13.32,17.66,13.82,18.16), (-14.92,18.46,-14.42,18.96), (-14.92,18.46,-10.28,18.96), (-10.28,18.46,-0.5,18.96), (0.5,18.46,10.28,18.96), (10.28,18.46,14.92,18.96), (14.42,18.46,14.92,18.96), (-15.72,20.9,-15.22,21.4), (-15.72,20.9,-13.32,21.4), (-13.32,20.9,13.32,21.4), (13.32,20.9,16.52,21.4), (16.02,20.9,16.52,21.4), (-16.52,21.7,-16.02,22.2), (-16.52,21.7,-13.32,22.2), (-13.32,21.7,13.32,22.2), (13.32,21.7,15.72,22.2), (15.22,21.7,15.72,22.2), (-10.085,23.61,-9.585,24.11), (-10.085,23.61,-9.585,24.11), (-10.085,23.61,-9.675,24.11), (-9.675,23.61,9.675,24.11), (9.585,23.61,10.085,24.11), (9.585,23.61,10.085,24.11), (9.675,23.61,10.085,24.11), (-6.53,24.625,-6.03,25.125), (-6.53,24.625,-5.13,25.125), (-5.13,24.625,5.13,25.125), (-2.08,24.625,-0.97,25.125), (-1.775,24.625,-1.275,25.125), (4.02,24.625,5.13,25.125), (4.325,24.625,4.825,25.125), (-6.53,25.735,-6.03,26.235), (-6.53,25.735,-5.13,26.235), (-5.13,25.735,-4.02,26.235), (-5.13,25.735,5.13,26.235), (-4.825,25.735,-4.325,26.235), (0.97,25.735,2.08,26.235), (1.275,25.735,1.775,26.235), (-5.66,26.78,-5.16,31.73), (-3.99,26.78,-3.49,31.73), (-2.61,26.78,-2.11,31.73), (-0.94,26.78,-0.44,31.73), (0.44,26.78,0.94,31.73), (2.11,26.78,2.61,31.73), (3.49,26.78,3.99,31.73), (5.16,26.78,5.66,31.73), (-5.66,32.28,-5.16,32.78), (-5.66,32.28,-3.49,32.78), (-5.66,32.28,5.66,32.78), (0.44,32.28,0.94,32.78), (0.44,32.28,2.61,32.78), (5.66,32.28,7.06,32.78), (6.56,32.28,7.06,32.78), (-6.53,33.08,-6.03,33.58), (-6.53,33.08,-6.03,33.58), (-6.53,33.08,-5.66,33.58), (-5.66,33.08,-3.49,33.58), (-5.66,33.08,5.66,33.58), (-3.99,33.08,-3.49,33.58), (0.44,33.08,2.61,33.58), (2.11,33.08,2.61,33.58), (-5.66,34.43,5.66,34.93), (-2.61,34.43,-2.11,34.93), (-2.61,34.43,-0.44,34.93), (3.49,34.43,3.99,34.93), (3.49,34.43,5.66,34.93), (5.66,34.43,7.06,34.93), (6.56,34.43,7.06,34.93), (-5.66,35.23,5.66,35.73), (-2.61,35.23,-0.44,35.73), (-0.94,35.23,-0.44,35.73), (3.49,35.23,5.66,35.73), (5.16,35.23,5.66,35.73), (-10.085,36.24,-9.585,36.74), (-10.085,36.24,-9.585,36.74), (-10.085,36.24,-9.675,36.74), (-9.675,36.24,9.675,36.74), (6.56,36.24,7.06,36.74), (7.35,36.24,7.85,36.74), (8.15,36.24,8.65,36.74), (9.585,36.24,10.085,36.74), (9.585,36.24,10.085,36.74), (9.675,36.24,10.085,36.74)])
R(ota5t, metal2_pin, [(-9.125,6.395,-8.855,6.665), (-9.125,6.395,-8.855,6.665), (1.655,6.395,1.925,6.665), (1.655,6.395,1.925,6.665), (-5.525,18.69,-5.255,18.96), (5.255,18.69,5.525,18.96), (5.39,35.345,5.66,35.615), (-0.135,36.24,0.135,36.51)])
A(ota5t, via2, -9.52, 18.58, 0.26, 0.26, 11, 1, 0.8, 0)
A(ota5t, via2, 1.26, 18.58, 0.26, 0.26, 11, 1, 0.8, 0)
R(ota5t, via2, [(1.45,-20.98,1.71,-20.72), (-1.71,-19.87,-1.45,-19.61), (-2.595,-11.95,-2.335,-11.69), (-0.825,-11.15,-0.565,-10.89), (0.565,-9.8,0.825,-9.54), (2.335,-9,2.595,-8.74), (-14.8,-6,-14.54,-5.74), (5.26,-6,5.52,-5.74), (14.54,-5.2,14.8,-4.94), (-5.52,-4.9,-5.26,-4.64), (-5.52,-4.1,-5.26,-3.84), (5.26,-4.1,5.52,-3.84), (-13.7,-2.8,-13.44,-2.54), (13.44,-2.8,13.7,-2.54), (-16.4,6.285,-16.14,6.545), (16.14,6.285,16.4,6.545), (-15.6,8.695,-15.34,8.955), (15.34,8.695,15.6,8.955), (-13.7,17.78,-13.44,18.04), (13.44,17.78,13.7,18.04), (-14.8,18.58,-14.54,18.84), (14.54,18.58,14.8,18.84), (-15.6,21.02,-15.34,21.28), (16.14,21.02,16.4,21.28), (-16.4,21.82,-16.14,22.08), (15.34,21.82,15.6,22.08), (-6.41,24.745,-6.15,25.005), (-6.41,25.855,-6.15,26.115), (6.68,32.4,6.94,32.66), (-6.41,33.2,-6.15,33.46), (-4.99,33.2,-4.73,33.46), (6.68,34.55,6.94,34.81), (4.73,35.35,4.99,35.61), (6.68,36.36,6.94,36.62)])
A(ota5t, via3, -9.52, 18.58, 0.26, 0.26, 11, 1, 0.8, 0)
A(ota5t, via3, 1.26, 18.58, 0.26, 0.26, 11, 1, 0.8, 0)
R(ota5t, via3, [(3.205,-20.98,3.465,-20.72), (3.205,-19.87,3.465,-19.61), (-3.995,-11.95,-3.735,-11.69), (3.205,-11.15,3.465,-10.89), (-3.995,-9.8,-3.735,-9.54), (-4.99,33.2,-4.73,33.46), (4.73,35.35,4.99,35.61)])
A(ota5t, metal3, -9.64, 18.46, 0.5, 0.5, 11, 1, 0.8, 0)
A(ota5t, metal3, 1.14, 18.46, 0.5, 0.5, 11, 1, 0.8, 0)
R(ota5t, metal3, [(-2.185,-21.1,2.185,-20.6), (0.975,-21.1,2.185,-20.6), (1.33,-21.1,1.83,-20.6), (2.185,-21.1,3.585,-20.6), (3.085,-21.1,3.585,-20.6), (-2.185,-19.99,-0.975,-19.49), (-2.185,-19.99,2.185,-19.49), (-1.83,-19.99,-1.33,-19.49), (2.185,-19.99,3.585,-19.49), (3.085,-19.99,3.585,-19.49), (-4.115,-12.07,-3.615,-11.57), (-4.115,-12.07,-2.715,-11.57), (-2.715,-12.07,-2.215,-11.57), (-2.715,-12.07,-0.445,-11.57), (-2.715,-12.07,2.715,-11.57), (-2.715,-11.27,-0.445,-10.77), (-2.715,-11.27,2.715,-10.77), (-0.945,-11.27,-0.445,-10.77), (2.715,-11.27,3.585,-10.77), (3.085,-11.27,3.585,-10.77), (3.085,-11.27,3.585,-10.77), (-4.115,-9.92,-3.615,-9.42), (-4.115,-9.92,-2.715,-9.42), (-2.715,-9.92,2.715,-9.42), (0.445,-9.92,0.945,-9.42), (0.445,-9.92,2.715,-9.42), (-13.82,-9.12,-2.715,-8.62), (-13.82,-9.12,-13.32,-2.92), (-2.715,-9.12,2.715,-8.62), (0.445,-9.12,2.715,-8.62), (2.215,-9.12,2.715,-8.62), (2.715,-9.12,13.82,-8.62), (13.32,-9.12,13.82,-2.92), (-14.92,-6.12,-14.42,-5.62), (-14.92,-6.12,-14.42,-5.62), (-14.92,-6.12,-14.42,18.96), (5.14,-6.12,5.64,-5.62), (5.14,-5.62,5.64,-4.22), (14.42,-5.32,14.92,-4.82), (14.42,-5.32,14.92,-4.82), (14.42,-5.32,14.92,18.96), (-5.64,-5.02,-5.14,-4.52), (-5.64,-4.52,-5.14,-4.22), (-5.64,-4.22,-5.14,-3.72), (5.14,-4.22,5.64,-3.72), (-13.82,-2.92,-13.32,-2.42), (-13.82,-2.92,-13.32,-2.42), (-13.82,-2.92,-13.32,18.16), (13.32,-2.92,13.82,-2.42), (13.32,-2.92,13.82,-2.42), (13.32,-2.92,13.82,18.16), (-16.52,6.165,-16.02,6.665), (-16.52,6.165,-16.02,6.665), (-16.52,6.165,-16.02,22.2), (16.02,6.165,16.52,6.665), (16.02,6.165,16.52,6.665), (16.02,6.165,16.52,21.4), (-15.72,8.575,-15.22,9.075), (-15.72,8.575,-15.22,9.075), (-15.72,8.575,-15.22,21.4), (15.22,8.575,15.72,9.075), (15.22,8.575,15.72,9.075), (15.22,8.575,15.72,22.2), (-13.82,17.66,-13.32,18.16), (-13.82,17.66,-13.32,18.16), (13.32,17.66,13.82,18.16), (13.32,17.66,13.82,18.16), (-14.92,18.46,-14.42,18.96), (-14.92,18.46,-14.42,18.96), (14.42,18.46,14.92,18.96), (14.42,18.46,14.92,18.96), (-15.72,20.9,-15.22,21.4), (-15.72,20.9,-15.22,21.4), (16.02,20.9,16.52,21.4), (16.02,20.9,16.52,21.4), (-16.52,21.7,-16.02,22.2), (-16.52,21.7,-16.02,22.2), (15.22,21.7,15.72,22.2), (15.22,21.7,15.72,22.2), (-6.53,24.625,-6.03,25.125), (-6.53,24.625,-6.03,25.125), (-6.53,24.625,-6.03,26.235), (-6.53,25.735,-6.03,26.235), (-6.53,25.735,-6.03,26.235), (-6.53,26.235,-6.03,33.58), (6.56,32.28,7.06,32.78), (6.56,32.28,7.06,32.78), (6.56,32.28,7.06,34.93), (-6.53,33.08,-6.03,33.58), (-6.53,33.08,-6.03,33.58), (-5.11,33.08,-4.61,33.58), (6.56,34.43,7.06,34.93), (6.56,34.43,7.06,34.93), (6.56,34.93,7.06,36.24), (4.61,35.23,5.11,35.73), (6.56,36.24,7.06,36.74)])
P(ota5t, metal3, [(16.52,6.165),(16.52,6.165),(16.52,6.665),(16.52,6.665)],
  [(16.52,20.9),(16.52,20.9),(16.52,21.4),(16.52,21.4)],
  [(-16.02,6.165),(-16.02,6.165),(-16.02,6.665),(-16.02,6.665)],
  [(-16.02,21.7),(-16.02,21.7),(-16.02,22.2),(-16.02,22.2)],
  [(15.72,8.575),(15.72,8.575),(15.72,9.075),(15.72,9.075)],
  [(15.72,21.7),(15.72,21.7),(15.72,22.2),(15.72,22.2)],
  [(-15.22,8.575),(-15.22,8.575),(-15.22,9.075),(-15.22,9.075)],
  [(-15.22,20.9),(-15.22,20.9),(-15.22,21.4),(-15.22,21.4)],
  [(-14.42,-6.12),(-14.42,-6.12),(-14.42,-5.62),(-14.42,-5.62)],
  [(-14.42,18.46),(-14.42,18.46),(-14.42,18.96),(-14.42,18.96)],
  [(14.92,-5.32),(14.92,-5.32),(14.92,-4.82),(14.92,-4.82)],
  [(14.92,18.46),(14.92,18.46),(14.92,18.96),(14.92,18.96)],
  [(-13.32,-2.92),(-13.32,-2.92),(-13.32,-2.42),(-13.32,-2.42)],
  [(-13.32,17.66),(-13.32,17.66),(-13.32,18.16),(-13.32,18.16)],
  [(13.82,-2.92),(13.82,-2.92),(13.82,-2.42),(13.82,-2.42)],
  [(13.82,17.66),(13.82,17.66),(13.82,18.16),(13.82,18.16)],
  [(7.06,32.28),(7.06,32.28),(7.06,32.78),(7.06,32.78)],
  [(7.06,34.43),(7.06,34.43),(7.06,34.93),(7.06,34.93)],
  [(-6.03,24.625),(-6.03,24.625),(-6.03,25.125),(-6.03,25.125)],
  [(-6.03,25.735),(-6.03,25.735),(-6.03,26.235),(-6.03,26.235)])
R(ota5t, metal3_pin, [(2.445,-11.155,2.715,-10.885), (2.445,-11.155,2.715,-10.885)])
A(ota5t, metal4, -9.64, 18.46, 0.5, 0.5, 11, 1, 0.8, 0)
A(ota5t, metal4, 1.14, 18.46, 0.5, 0.5, 11, 1, 0.8, 0)
R(ota5t, metal4, [(3.085,-21.1,3.585,-20.6), (3.085,-21.1,3.585,-20.6), (3.085,-21.1,3.585,-19.49), (3.085,-19.99,3.585,-19.49), (3.085,-19.99,3.585,-19.49), (3.085,-19.49,3.585,-10.77), (-4.115,-12.07,-3.615,-11.57), (-4.115,-12.07,-3.615,-11.57), (-4.115,-12.07,-3.615,-9.42), (3.085,-11.27,3.585,-10.77), (3.085,-11.27,3.585,-10.77), (-4.115,-9.92,-3.615,-9.42), (-4.115,-9.92,-3.615,-9.42), (-10.28,18.46,-0.5,18.96), (-10.08,18.46,-0.7,18.96), (0.5,18.46,10.28,18.96), (0.7,18.46,10.08,18.96), (-5.26,18.71,-4.46,33.33), (4.46,18.71,5.26,35.48), (-5.26,33.08,-4.46,33.58), (-5.11,33.08,-4.61,33.58), (4.46,35.23,5.26,35.73), (4.61,35.23,5.11,35.73)])
P(ota5t, metal4, [(3.585,-21.1),(3.585,-21.1),(3.585,-20.6),(3.585,-20.6)],
  [(3.585,-19.99),(3.585,-19.99),(3.585,-19.49),(3.585,-19.49)],
  [(-3.615,-12.07),(-3.615,-12.07),(-3.615,-11.57),(-3.615,-11.57)],
  [(-3.615,-9.92),(-3.615,-9.92),(-3.615,-9.42),(-3.615,-9.42)])
R(ota5t, metal4_pin, [(-4,-12.07,-3.73,-11.8), (-4,-12.07,-3.73,-11.8)])
R(ota5t, lvpwell, [(-7.345,-22.2,7.345,-7.52), (-16.52,-6.12,16.52,22.2), (-13.32,-3.84,-0.08,6.785), (0.08,-3.84,13.32,6.785), (-13.32,8.455,-0.08,19.08), (0.08,8.455,13.32,19.08)])
ota5t.add(gdstk.Label('B', (0,20.165), layer=34, texttype=10))
ota5t.add(gdstk.Label('VSS', (-3.865,-11.935), layer=46, texttype=10))
ota5t.add(gdstk.Label('IBIAS', (2.58,-11.02), layer=42, texttype=10))
ota5t.add(gdstk.Label('VN', (-8.99,6.53), layer=36, texttype=10))
ota5t.add(gdstk.Label('VP', (1.79,6.53), layer=36, texttype=10))
ota5t.add(gdstk.Label('VDD', (0,36.375), layer=36, texttype=10))
ota5t.add(gdstk.Label('B', (0,20.165), layer=34, texttype=10))
ota5t.add(gdstk.Label('VSS', (-3.865,-11.935), layer=46, texttype=10))
ota5t.add(gdstk.Label('IBIAS', (2.58,-11.02), layer=42, texttype=10))
ota5t.add(gdstk.Label('OUT', (5.525,35.48), layer=36, texttype=10))
ota5t.add(gdstk.Label('VN', (-8.99,6.53), layer=36, texttype=10))
ota5t.add(gdstk.Label('VP', (1.79,6.53), layer=36, texttype=10))

lib.write_gds('ota5t.gds')
